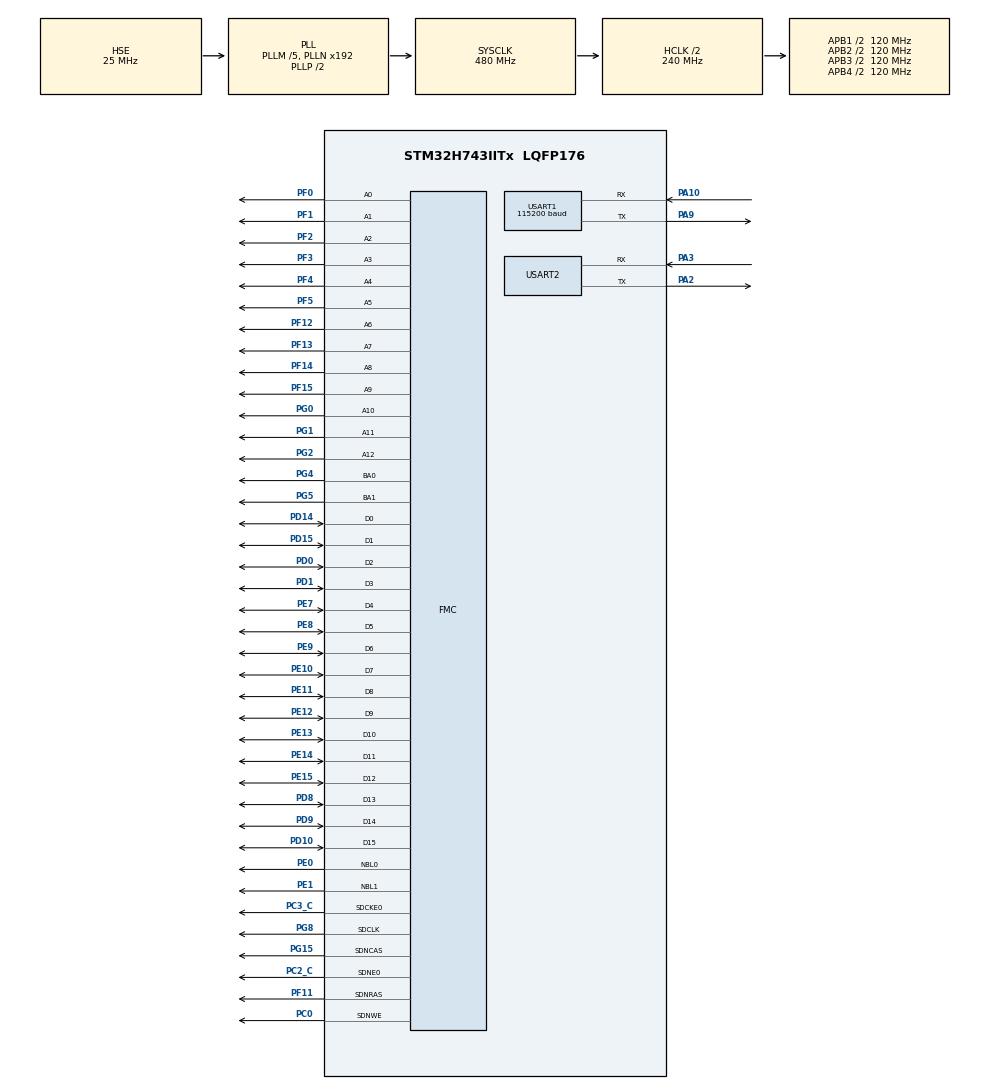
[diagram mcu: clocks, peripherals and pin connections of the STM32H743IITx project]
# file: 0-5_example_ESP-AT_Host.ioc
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CORTEX_M7.Enable_Spec=__NULL
CORTEX_M7.MPU_Control=__NULL
CORTEX_M7.default_mode_Activation=0
Dma.Request0=USART1_RX
Dma.Request1=USART1_TX
Dma.Request2=USART2_RX
Dma.Request3=USART2_TX
Dma.USART1_RX.0.Direction=DMA_PERIPH_TO_MEMORY
Dma.USART1_RX.0.EventEnable=DISABLE
Dma.USART1_RX.0.FIFOMode=DMA_FIFOMODE_DISABLE
Dma.USART1_RX.0.Instance=DMA1_Stream0
Dma.USART1_RX.0.MemDataAlignment=DMA_MDATAALIGN_BYTE
Dma.USART1_RX.0.MemInc=DMA_MINC_ENABLE
Dma.USART1_RX.0.Mode=DMA_NORMAL
Dma.USART1_RX.0.PeriphDataAlignment=DMA_PDATAALIGN_BYTE
Dma.USART1_RX.0.PeriphInc=DMA_PINC_DISABLE
Dma.USART1_RX.0.Polarity=HAL_DMAMUX_REQ_GEN_RISING
Dma.USART1_RX.0.Priority=DMA_PRIORITY_LOW
Dma.USART1_RX.0.RequestNumber=1
Dma.USART1_RX.0.SignalID=NONE
Dma.USART1_RX.0.SyncEnable=DISABLE
Dma.USART1_RX.0.SyncPolarity=HAL_DMAMUX_SYNC_NO_EVENT
Dma.USART1_RX.0.SyncRequestNumber=1
Dma.USART1_RX.0.SyncSignalID=NONE
Dma.USART1_TX.1.Direction=DMA_MEMORY_TO_PERIPH
Dma.USART1_TX.1.EventEnable=DISABLE
Dma.USART1_TX.1.FIFOMode=DMA_FIFOMODE_DISABLE
Dma.USART1_TX.1.Instance=DMA1_Stream1
Dma.USART1_TX.1.MemDataAlignment=DMA_MDATAALIGN_BYTE
Dma.USART1_TX.1.MemInc=DMA_MINC_ENABLE
Dma.USART1_TX.1.Mode=DMA_NORMAL
Dma.USART1_TX.1.PeriphDataAlignment=DMA_PDATAALIGN_BYTE
Dma.USART1_TX.1.PeriphInc=DMA_PINC_DISABLE
Dma.USART1_TX.1.Polarity=HAL_DMAMUX_REQ_GEN_RISING
Dma.USART1_TX.1.Priority=DMA_PRIORITY_LOW
Dma.USART1_TX.1.RequestNumber=1
Dma.USART1_TX.1.SignalID=NONE
Dma.USART1_TX.1.SyncEnable=DISABLE
Dma.USART1_TX.1.SyncPolarity=HAL_DMAMUX_SYNC_NO_EVENT
Dma.USART1_TX.1.SyncRequestNumber=1
Dma.USART1_TX.1.SyncSignalID=NONE
Dma.USART2_RX.2.Direction=DMA_PERIPH_TO_MEMORY
Dma.USART2_RX.2.EventEnable=DISABLE
Dma.USART2_RX.2.FIFOMode=DMA_FIFOMODE_DISABLE
Dma.USART2_RX.2.Instance=DMA1_Stream2
Dma.USART2_RX.2.MemDataAlignment=DMA_MDATAALIGN_BYTE
Dma.USART2_RX.2.MemInc=DMA_MINC_ENABLE
Dma.USART2_RX.2.Mode=DMA_CIRCULAR
Dma.USART2_RX.2.PeriphDataAlignment=DMA_PDATAALIGN_BYTE
Dma.USART2_RX.2.PeriphInc=DMA_PINC_DISABLE
Dma.USART2_RX.2.Polarity=HAL_DMAMUX_REQ_GEN_RISING
Dma.USART2_RX.2.Priority=DMA_PRIORITY_HIGH
Dma.USART2_RX.2.RequestNumber=1
Dma.USART2_RX.2.SignalID=NONE
Dma.USART2_RX.2.SyncEnable=DISABLE
Dma.USART2_RX.2.SyncPolarity=HAL_DMAMUX_SYNC_NO_EVENT
Dma.USART2_RX.2.SyncRequestNumber=1
Dma.USART2_RX.2.SyncSignalID=NONE
Dma.USART2_TX.3.Direction=DMA_MEMORY_TO_PERIPH
Dma.USART2_TX.3.EventEnable=DISABLE
Dma.USART2_TX.3.FIFOMode=DMA_FIFOMODE_DISABLE
Dma.USART2_TX.3.Instance=DMA1_Stream3
Dma.USART2_TX.3.MemDataAlignment=DMA_MDATAALIGN_BYTE
Dma.USART2_TX.3.MemInc=DMA_MINC_ENABLE
Dma.USART2_TX.3.Mode=DMA_NORMAL
Dma.USART2_TX.3.PeriphDataAlignment=DMA_PDATAALIGN_BYTE
Dma.USART2_TX.3.PeriphInc=DMA_PINC_DISABLE
Dma.USART2_TX.3.Polarity=HAL_DMAMUX_REQ_GEN_RISING
Dma.USART2_TX.3.Priority=DMA_PRIORITY_HIGH
Dma.USART2_TX.3.RequestNumber=1
Dma.USART2_TX.3.SignalID=NONE
Dma.USART2_TX.3.SyncEnable=DISABLE
Dma.USART2_TX.3.SyncPolarity=HAL_DMAMUX_SYNC_NO_EVENT
Dma.USART2_TX.3.SyncRequestNumber=1
Dma.USART2_TX.3.SyncSignalID=NONE
FMC.CASLatency1=FMC_SDRAM_CAS_LATENCY_2
FMC.ColumnBitsNumber1=FMC_SDRAM_COLUMN_BITS_NUM_9
FMC.ExitSelfRefreshDelay1=8
FMC.LoadToActiveDelay1=2
FMC.RCDDelay1=2
FMC.RPDelay1=2
FMC.RPDelay2=2
FMC.ReadBurst1=FMC_SDRAM_RBURST_ENABLE
FMC.ReadBurst2=FMC_SDRAM_RBURST_ENABLE
FMC.ReadPipeDelay1=FMC_SDRAM_RPIPE_DELAY_1
FMC.ReadPipeDelay2=FMC_SDRAM_RPIPE_DELAY_1
FMC.RowCycleDelay1=6
FMC.RowCycleDelay2=6
FMC.SDClockPeriod1=FMC_SDRAM_CLOCK_PERIOD_2
FMC.SDClockPeriod2=FMC_SDRAM_CLOCK_PERIOD_2
FMC.SelfRefreshTime1=6
FMC.WriteRecoveryTime1=4
Mcu.Family=STM32H7
Mcu.Name=STM32H743IITx
Mcu.Package=LQFP176
NVIC.DMA1_Stream0_IRQn=true\:0\:0\:false\:false\:true\:false\:true\:true
NVIC.DMA1_Stream1_IRQn=true\:0\:0\:false\:false\:true\:false\:true\:true
NVIC.DMA1_Stream2_IRQn=true\:0\:0\:false\:false\:true\:false\:true\:true
NVIC.DMA1_Stream3_IRQn=true\:0\:0\:false\:false\:true\:false\:true\:true
NVIC.FMC_IRQn=true\:0\:0\:false\:false\:true\:true\:true\:true
NVIC.PriorityGroup=NVIC_PRIORITYGROUP_4
NVIC.USART1_IRQn=true\:0\:0\:false\:false\:true\:true\:true\:true
NVIC.USART2_IRQn=true\:0\:0\:false\:false\:true\:true\:true\:true
PA10.GPIO_Speed=GPIO_SPEED_FREQ_VERY_HIGH
PA10.Mode=Asynchronous
PA10.Signal=USART1_RX
PA13\ (JTMS/SWDIO).Mode=Serial_Wire
PA13\ (JTMS/SWDIO).Signal=DEBUG_JTMS-SWDIO
PA14\ (JTCK/SWCLK).Mode=Serial_Wire
PA14\ (JTCK/SWCLK).Signal=DEBUG_JTCK-SWCLK
PA2.Mode=Asynchronous
PA2.Signal=USART2_TX
PA3.Mode=Asynchronous
PA3.Signal=USART2_RX
PA9.GPIO_Speed=GPIO_SPEED_FREQ_VERY_HIGH
PA9.Mode=Asynchronous
PA9.Signal=USART1_TX
PC0.Signal=FMC_SDNWE
PC14-OSC32_IN\ (OSC32_IN).Mode=LSE-External-Oscillator
PC14-OSC32_IN\ (OSC32_IN).Signal=RCC_OSC32_IN
PC15-OSC32_OUT\ (OSC32_OUT).Mode=LSE-External-Oscillator
PC15-OSC32_OUT\ (OSC32_OUT).Signal=RCC_OSC32_OUT
PC2_C.Mode=SdramChipSelect1_1
PC2_C.Signal=FMC_SDNE0
PC3_C.Mode=SdramChipSelect1_1
PC3_C.Signal=FMC_SDCKE0
PD0.Signal=FMC_D2_DA2
PD1.Signal=FMC_D3_DA3
PD10.Signal=FMC_D15_DA15
PD14.Signal=FMC_D0_DA0
PD15.Signal=FMC_D1_DA1
PD8.Signal=FMC_D13_DA13
PD9.Signal=FMC_D14_DA14
PE0.Signal=FMC_NBL0
PE1.Signal=FMC_NBL1
PE10.Signal=FMC_D7_DA7
PE11.Signal=FMC_D8_DA8
PE12.Signal=FMC_D9_DA9
PE13.Signal=FMC_D10_DA10
PE14.Signal=FMC_D11_DA11
PE15.Signal=FMC_D12_DA12
PE7.Signal=FMC_D4_DA4
PE8.Signal=FMC_D5_DA5
PE9.Signal=FMC_D6_DA6
PF0.Signal=FMC_A0
PF1.Signal=FMC_A1
PF11.Signal=FMC_SDNRAS
PF12.Signal=FMC_A6
PF13.Signal=FMC_A7
PF14.Signal=FMC_A8
PF15.Signal=FMC_A9
PF2.Signal=FMC_A2
PF3.Signal=FMC_A3
PF4.Signal=FMC_A4
PF5.Signal=FMC_A5
PG0.Signal=FMC_A10
PG1.Signal=FMC_A11
PG15.Signal=FMC_SDNCAS
PG2.Signal=FMC_A12
PG4.Signal=FMC_A14_BA0
PG5.Signal=FMC_A15_BA1
PG8.Signal=FMC_SDCLK
PH0-OSC_IN\ (PH0).Mode=HSE-External-Oscillator
PH0-OSC_IN\ (PH0).Signal=RCC_OSC_IN
PH1-OSC_OUT\ (PH1).Mode=HSE-External-Oscillator
PH1-OSC_OUT\ (PH1).Signal=RCC_OSC_OUT
ProjectManager.HeapSize=0x400
ProjectManager.StackSize=0x800
ProjectManager.TargetToolchain=STM32CubeIDE
RCC.ADCFreq_Value=480000000
RCC.APB1Freq_Value=120000000
RCC.APB2Freq_Value=120000000
RCC.APB3Freq_Value=120000000
RCC.APB4Freq_Value=120000000
RCC.CortexFreq_Value=480000000
RCC.D1PPRE=RCC_APB3_DIV2
RCC.D2PPRE1=RCC_APB1_DIV2
RCC.D2PPRE2=RCC_APB2_DIV2
RCC.D3PPRE=RCC_APB4_DIV2
RCC.DIVM1=5
RCC.DIVM2=5
RCC.DIVM3=5
RCC.DIVN1=192
RCC.DIVN2=192
RCC.DIVN3=192
RCC.DIVQ1=4
RCC.DIVQ2=4
RCC.DIVQ3=4
RCC.DIVR2=4
RCC.HCLKFreq_Value=240000000
RCC.HPRE=RCC_HCLK_DIV2
RCC.HSE_VALUE=25000000
RCC.PLLSourceVirtual=RCC_PLLSOURCE_HSE
RCC.SYSCLKFreq_VALUE=480000000
RCC.SYSCLKSource=RCC_SYSCLKSOURCE_PLLCLK
RCC.USBFreq_Value=240000000
SH.FMC_A0.0=FMC_A0,13b-sda1
SH.FMC_A1.0=FMC_A1,13b-sda1
SH.FMC_A10.0=FMC_A10,13b-sda1
SH.FMC_A11.0=FMC_A11,13b-sda1
SH.FMC_A12.0=FMC_A12,13b-sda1
SH.FMC_A14_BA0.0=FMC_BA0,FourSdramBanks1
SH.FMC_A15_BA1.0=FMC_BA1,FourSdramBanks1
SH.FMC_A2.0=FMC_A2,13b-sda1
SH.FMC_A3.0=FMC_A3,13b-sda1
SH.FMC_A4.0=FMC_A4,13b-sda1
SH.FMC_A5.0=FMC_A5,13b-sda1
SH.FMC_A6.0=FMC_A6,13b-sda1
SH.FMC_A7.0=FMC_A7,13b-sda1
SH.FMC_A8.0=FMC_A8,13b-sda1
SH.FMC_A9.0=FMC_A9,13b-sda1
SH.FMC_D0_DA0.0=FMC_D0,sd-16b-d1
SH.FMC_D10_DA10.0=FMC_D10,sd-16b-d1
SH.FMC_D11_DA11.0=FMC_D11,sd-16b-d1
SH.FMC_D12_DA12.0=FMC_D12,sd-16b-d1
SH.FMC_D13_DA13.0=FMC_D13,sd-16b-d1
SH.FMC_D14_DA14.0=FMC_D14,sd-16b-d1
SH.FMC_D15_DA15.0=FMC_D15,sd-16b-d1
SH.FMC_D1_DA1.0=FMC_D1,sd-16b-d1
SH.FMC_D2_DA2.0=FMC_D2,sd-16b-d1
SH.FMC_D3_DA3.0=FMC_D3,sd-16b-d1
SH.FMC_D4_DA4.0=FMC_D4,sd-16b-d1
SH.FMC_D5_DA5.0=FMC_D5,sd-16b-d1
SH.FMC_D6_DA6.0=FMC_D6,sd-16b-d1
SH.FMC_D7_DA7.0=FMC_D7,sd-16b-d1
SH.FMC_D8_DA8.0=FMC_D8,sd-16b-d1
SH.FMC_D9_DA9.0=FMC_D9,sd-16b-d1
SH.FMC_NBL0.0=FMC_NBL0,Sd2ByteEnable1
SH.FMC_NBL1.0=FMC_NBL1,Sd2ByteEnable1
SH.FMC_SDCLK.0=FMC_SDCLK,13b-sda1
SH.FMC_SDNCAS.0=FMC_SDNCAS,13b-sda1
SH.FMC_SDNRAS.0=FMC_SDNRAS,13b-sda1
SH.FMC_SDNWE.0=FMC_SDNWE,13b-sda1
USART1.BaudRate=115200
USART1.VirtualMode-Asynchronous=VM_ASYNC
USART2.VirtualMode-Asynchronous=VM_ASYNC
VP_MEMORYMAP_VS_MEMORYMAP.Mode=CurAppReg
board=custom

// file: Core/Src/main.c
/* USER CODE BEGIN Header */
/**
  ******************************************************************************
  * @file           : main.c
  * @brief          : Main program body
  ******************************************************************************
  * @attention
  *
  * Copyright (c) 2025 STMicroelectronics.
  * All rights reserved.
  *
  *
  * 此工程调通sdram(W9825G6KH)和内存管理
  *
  *
  *
  *
  ******************************************************************************
  */
/* USER CODE END Header */
#include "main.h"
#include "dma.h"
#include "usart.h"
#include "gpio.h"
#include "fmc.h"

/* USER CODE BEGIN Includes */
//#define NDEBUG
#include "string.h"
#include "sys/sys.h"
#include "delay/delay.h"
#include "usart/retarget.h"
//BSP
#include "sdram/W9825G6KH.h"
//APP
#include "MALLOC/malloc.h"
#include "SDRAM_test/sdram_test.h"
#include "RAMspeed_test/speed_test.h"
/* USER CODE END Includes */

/* USER CODE BEGIN PV */
char receivData[50] = {0};//存放接收内容(记得初始化)
uint8_t dataReady = 0;//发送标志位

/* USER CODE END PV */

void SystemClock_Config(void);
/* USER CODE BEGIN PFP */

//重定义'串口事件回调'函数
void HAL_UARTEx_RxEventCallback(UART_HandleTypeDef *huart, uint16_t Size){
	if(huart == &huart1){
		dataReady = 1;//在主函数里处理发送

		//处理数据...

		HAL_UARTEx_ReceiveToIdle_DMA(&huart1, (uint8_t*)receivData, 50);
	}
}
/* USER CODE END PFP */

int main(void)
{

  /* MCU Configuration--------------------------------------------------------*/

  /* Reset of all peripherals, Initializes the Flash interface and the Systick. */
  HAL_Init();

  /* Configure the system clock */
  SystemClock_Config();

  /* USER CODE BEGIN SysInit */
  delay_init(480);

  /* USER CODE END SysInit */

  /* Initialize all configured peripherals */
  MX_GPIO_Init();
  MX_DMA_Init();
  MX_USART1_UART_Init();
  MX_FMC_Init();
  MX_USART2_UART_Init();
  /* USER CODE BEGIN 2 */

  RetargetInit(&huart1);
  HAL_UARTEx_ReceiveToIdle_DMA(&huart1, (uint8_t*)receivData, 50);
#ifndef NDEBUG
  printf("printf init success!!\r\n");
#endif
  SDRAM_InitSequence();

  HAL_Delay(1000);
  fsmc_sdram_test();

  //内存池初始化
  HAL_Delay(1000);
  my_mem_init(SRAMIN);
  my_mem_init(SRAMEX);
  my_mem_init(SRAM12);
  my_mem_init(SRAM4);
  my_mem_init(SRAMDTCM);
  my_mem_init(SRAMITCM);
  printf("mallco init success!!\r\n");

  //内存速度测试
  memory_speed_test_all();

  /* USER CODE END 2 */

  /* Infinite loop */
  while (1)
  {

  }
}

void SystemClock_Config(void)
{
  RCC_OscInitTypeDef RCC_OscInitStruct = {0};
  RCC_ClkInitTypeDef RCC_ClkInitStruct = {0};

  /** Supply configuration update enable
  */
  HAL_PWREx_ConfigSupply(PWR_LDO_SUPPLY);

  /** Configure the main internal regulator output voltage
  */
  __HAL_PWR_VOLTAGESCALING_CONFIG(PWR_REGULATOR_VOLTAGE_SCALE0);

  while(!__HAL_PWR_GET_FLAG(PWR_FLAG_VOSRDY)) {}

  /** Initializes the RCC Oscillators according to the specified parameters
  * in the RCC_OscInitTypeDef structure.
  */
  RCC_OscInitStruct.OscillatorType = RCC_OSCILLATORTYPE_HSE;
  RCC_OscInitStruct.HSEState = RCC_HSE_ON;
  RCC_OscInitStruct.PLL.PLLState = RCC_PLL_ON;
  RCC_OscInitStruct.PLL.PLLSource = RCC_PLLSOURCE_HSE;
  RCC_OscInitStruct.PLL.PLLM = 5;
  RCC_OscInitStruct.PLL.PLLN = 192;
  RCC_OscInitStruct.PLL.PLLP = 2;
  RCC_OscInitStruct.PLL.PLLQ = 4;
  RCC_OscInitStruct.PLL.PLLR = 2;
  RCC_OscInitStruct.PLL.PLLRGE = RCC_PLL1VCIRANGE_2;
  RCC_OscInitStruct.PLL.PLLVCOSEL = RCC_PLL1VCOWIDE;
  RCC_OscInitStruct.PLL.PLLFRACN = 0;
  if (HAL_RCC_OscConfig(&RCC_OscInitStruct) != HAL_OK)
  {
    Error_Handler();
  }

  /** Initializes the CPU, AHB and APB buses clocks
  */
  RCC_ClkInitStruct.ClockType = RCC_CLOCKTYPE_HCLK|RCC_CLOCKTYPE_SYSCLK
                              |RCC_CLOCKTYPE_PCLK1|RCC_CLOCKTYPE_PCLK2
                              |RCC_CLOCKTYPE_D3PCLK1|RCC_CLOCKTYPE_D1PCLK1;
  RCC_ClkInitStruct.SYSCLKSource = RCC_SYSCLKSOURCE_PLLCLK;
  RCC_ClkInitStruct.SYSCLKDivider = RCC_SYSCLK_DIV1;
  RCC_ClkInitStruct.AHBCLKDivider = RCC_HCLK_DIV2;
  RCC_ClkInitStruct.APB3CLKDivider = RCC_APB3_DIV2;
  RCC_ClkInitStruct.APB1CLKDivider = RCC_APB1_DIV2;
  RCC_ClkInitStruct.APB2CLKDivider = RCC_APB2_DIV2;
  RCC_ClkInitStruct.APB4CLKDivider = RCC_APB4_DIV2;

  if (HAL_RCC_ClockConfig(&RCC_ClkInitStruct, FLASH_LATENCY_4) != HAL_OK)
  {
    Error_Handler();
  }
}

void Error_Handler(void)
{
  __disable_irq();
  while (1)
  {
  }
}
